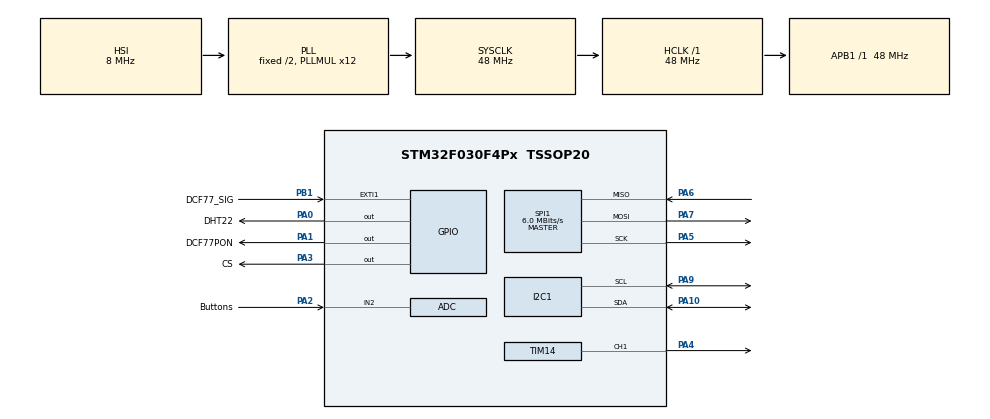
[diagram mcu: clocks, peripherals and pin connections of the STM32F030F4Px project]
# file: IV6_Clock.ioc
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I2C1.Timing=0x00201D2B
Mcu.Family=STM32F0
Mcu.Name=STM32F030F4Px
Mcu.Package=TSSOP20
NVIC.EXTI0_1_IRQn=true\:0\:0\:false\:false\:true\:true\:true\:true
NVIC.TIM3_IRQn=true\:0\:0\:false\:false\:true\:true\:true\:true
PA0.GPIO_Label=DHT22
PA0.GPIO_ModeDefaultOutputPP=GPIO_MODE_OUTPUT_OD
PA0.GPIO_PuPd=GPIO_NOPULL
PA0.GPIO_Speed=GPIO_SPEED_FREQ_HIGH
PA0.Signal=GPIO_Output
PA1.GPIO_Label=DCF77PON
PA1.Signal=GPIO_Output
PA10.Mode=I2C
PA10.Signal=I2C1_SDA
PA13.Mode=Serial_Wire
PA13.Signal=SYS_SWDIO
PA14.Mode=Serial_Wire
PA14.Signal=SYS_SWCLK
PA2.GPIO_Label=Buttons
PA2.Mode=IN2
PA2.Signal=ADC_IN2
PA3.GPIO_Label=CS
PA3.Signal=GPIO_Output
PA4.Signal=S_TIM14_CH1
PA5.GPIO_PuPd=GPIO_PULLDOWN
PA5.Mode=Full_Duplex_Master
PA5.Signal=SPI1_SCK
PA6.GPIO_PuPd=GPIO_NOPULL
PA6.Mode=Full_Duplex_Master
PA6.Signal=SPI1_MISO
PA7.Mode=Full_Duplex_Master
PA7.Signal=SPI1_MOSI
PA9.Mode=I2C
PA9.Signal=I2C1_SCL
PB1.GPIO_Label=DCF77_SIG
PB1.GPIO_ModeDefaultEXTI=GPIO_MODE_IT_FALLING
PB1.GPIO_PuPd=GPIO_NOPULL
PB1.Signal=GPXTI1
PF0-OSC_IN.Mode=HSE-External-Oscillator
PF0-OSC_IN.Signal=RCC_OSC_IN
PF1-OSC_OUT.Mode=HSE-External-Oscillator
PF1-OSC_OUT.Signal=RCC_OSC_OUT
ProjectManager.HeapSize=0x200
ProjectManager.StackSize=0x400
ProjectManager.TargetToolchain=STM32CubeIDE
RCC.AHBFreq_Value=48000000
RCC.APB1Freq_Value=48000000
RCC.APB1TimFreq_Value=48000000
RCC.HCLKFreq_Value=48000000
RCC.PLLMUL=RCC_PLL_MUL12
RCC.SYSCLKFreq_VALUE=48000000
RCC.SYSCLKSource=RCC_SYSCLKSOURCE_PLLCLK
SH.S_TIM14_CH1.0=TIM14_CH1,PWM Generation1 CH1
SPI1.BaudRatePrescaler=SPI_BAUDRATEPRESCALER_8
SPI1.CLKPhase=SPI_PHASE_1EDGE
SPI1.CLKPolarity=SPI_POLARITY_LOW
SPI1.CRCCalculation=SPI_CRCCALCULATION_DISABLE
SPI1.CalculateBaudRate=6.0 MBits/s
SPI1.DataSize=SPI_DATASIZE_8BIT
SPI1.Direction=SPI_DIRECTION_2LINES
SPI1.Mode=SPI_MODE_MASTER
SPI1.NSSPMode=SPI_NSS_PULSE_DISABLE
SPI1.VirtualType=VM_MASTER
TIM14.Channel=TIM_CHANNEL_1
TIM14.Period=999
TIM14.Prescaler=48
TIM3.Period=499
TIM3.Prescaler=4799
VP_TIM14_VS_ClockSourceINT.Mode=Enable_Timer
VP_TIM3_VS_ClockSourceINT.Mode=Internal
board=custom

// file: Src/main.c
/* USER CODE BEGIN Header */
/**
  ******************************************************************************
  * @file           : main.c
  * @brief          : Main program body
  ******************************************************************************
  * @attention
  *
  * Copyright (c) 2026 STMicroelectronics.
  * All rights reserved.
  *
  * This software is licensed under terms that can be found in the LICENSE file
  * in the root directory of this software component.
  * If no LICENSE file comes with this software, it is provided AS-IS.
  *
  ******************************************************************************
  */
/* USER CODE END Header */
#include "main.h"

/* USER CODE BEGIN Includes */
#include "MCP23S17.h"
#include "DS3231.h"
#include "DHT22.h"
#include "VFDDisplay.h"
#include "stdbool.h"
/* USER CODE END Includes */

ADC_HandleTypeDef hadc;

I2C_HandleTypeDef hi2c1;

SPI_HandleTypeDef hspi1;

TIM_HandleTypeDef htim3;
TIM_HandleTypeDef htim14;

/* USER CODE BEGIN PV */
MCP23S17SPI RMI01_Hours;
MCP23S17SPI RMI02_Minutes;
MCP23S17SPI RMI03_Seconds;

DS3231_RTC RTCM;

DHT22_Data THSens;

uint8_t Time[3] = {0};
uint8_t Date[4] = {0};
bool hrformat = 0;
bool fAmPm = 0;
//Nyomógomb kezeléshez
typedef enum{

	BTN_NONE,
	BTN_SET,
	BTN_DOWN,
	BTN_UP,
	BTN_ALARM_OFF,

}ButtonState;

typedef enum {
    STATE_SHOW_TIME,       // Normál működés
    STATE_MENU_MAIN,       // Főmenü
    STATE_MENU_SUB      	// Almenü
} SystemState;

SystemState current_state = STATE_SHOW_TIME;
uint8_t main_menu_index = 0;
uint8_t sub_menu_index = 0;

volatile uint8_t fl_btn_pressed = 0;
volatile ButtonState current_btn = BTN_NONE;
volatile ButtonState event_btn = BTN_NONE;

/* USER CODE END PV */

void SystemClock_Config(void);
static void MX_GPIO_Init(void);
static void MX_SPI1_Init(void);
static void MX_I2C1_Init(void);
static void MX_TIM14_Init(void);
static void MX_ADC_Init(void);
static void MX_TIM3_Init(void);
/* USER CODE BEGIN PFP */
void AppInit(void);
void AppRun(void);
/* USER CODE END PFP */

int main(void)
{

  /* MCU Configuration--------------------------------------------------------*/

  /* Reset of all peripherals, Initializes the Flash interface and the Systick. */
  HAL_Init();

  /* Configure the system clock */
  SystemClock_Config();

  /* Initialize all configured peripherals */
  MX_GPIO_Init();
  MX_SPI1_Init();
  MX_I2C1_Init();
  MX_TIM14_Init();
  MX_ADC_Init();
  MX_TIM3_Init();
  /* USER CODE BEGIN 2 */

  AppInit();

  /* USER CODE END 2 */

  /* Infinite loop */
  while (1)
  {

    /* USER CODE BEGIN 3 */

	  AppRun();

  }
  /* USER CODE END 3 */
}

void SystemClock_Config(void)
{
  RCC_OscInitTypeDef RCC_OscInitStruct = {0};
  RCC_ClkInitTypeDef RCC_ClkInitStruct = {0};
  RCC_PeriphCLKInitTypeDef PeriphClkInit = {0};

  /** Initializes the RCC Oscillators according to the specified parameters
  * in the RCC_OscInitTypeDef structure.
  */
  RCC_OscInitStruct.OscillatorType = RCC_OSCILLATORTYPE_HSI|RCC_OSCILLATORTYPE_HSI14;
  RCC_OscInitStruct.HSIState = RCC_HSI_ON;
  RCC_OscInitStruct.HSI14State = RCC_HSI14_ON;
  RCC_OscInitStruct.HSICalibrationValue = RCC_HSICALIBRATION_DEFAULT;
  RCC_OscInitStruct.HSI14CalibrationValue = 16;
  RCC_OscInitStruct.PLL.PLLState = RCC_PLL_ON;
  RCC_OscInitStruct.PLL.PLLSource = RCC_PLLSOURCE_HSI;
  RCC_OscInitStruct.PLL.PLLMUL = RCC_PLL_MUL12;
  RCC_OscInitStruct.PLL.PREDIV = RCC_PREDIV_DIV1;
  if (HAL_RCC_OscConfig(&RCC_OscInitStruct) != HAL_OK)
  {
    Error_Handler();
  }

  /** Initializes the CPU, AHB and APB buses clocks
  */
  RCC_ClkInitStruct.ClockType = RCC_CLOCKTYPE_HCLK|RCC_CLOCKTYPE_SYSCLK
                              |RCC_CLOCKTYPE_PCLK1;
  RCC_ClkInitStruct.SYSCLKSource = RCC_SYSCLKSOURCE_PLLCLK;
  RCC_ClkInitStruct.AHBCLKDivider = RCC_SYSCLK_DIV1;
  RCC_ClkInitStruct.APB1CLKDivider = RCC_HCLK_DIV1;

  if (HAL_RCC_ClockConfig(&RCC_ClkInitStruct, FLASH_LATENCY_1) != HAL_OK)
  {
    Error_Handler();
  }
  PeriphClkInit.PeriphClockSelection = RCC_PERIPHCLK_I2C1;
  PeriphClkInit.I2c1ClockSelection = RCC_I2C1CLKSOURCE_HSI;
  if (HAL_RCCEx_PeriphCLKConfig(&PeriphClkInit) != HAL_OK)
  {
    Error_Handler();
  }
}

static void MX_ADC_Init(void)
{

  ADC_ChannelConfTypeDef sConfig = {0};

  /** Configure the global features of the ADC (Clock, Resolution, Data Alignment and number of conversion)
  */
  hadc.Instance = ADC1;
  hadc.Init.ClockPrescaler = ADC_CLOCK_ASYNC_DIV1;
  hadc.Init.Resolution = ADC_RESOLUTION_12B;
  hadc.Init.DataAlign = ADC_DATAALIGN_RIGHT;
  hadc.Init.ScanConvMode = ADC_SCAN_DIRECTION_FORWARD;
  hadc.Init.EOCSelection = ADC_EOC_SINGLE_CONV;
  hadc.Init.LowPowerAutoWait = DISABLE;
  hadc.Init.LowPowerAutoPowerOff = DISABLE;
  hadc.Init.ContinuousConvMode = DISABLE;
  hadc.Init.DiscontinuousConvMode = DISABLE;
  hadc.Init.ExternalTrigConv = ADC_SOFTWARE_START;
  hadc.Init.ExternalTrigConvEdge = ADC_EXTERNALTRIGCONVEDGE_NONE;
  hadc.Init.DMAContinuousRequests = DISABLE;
  hadc.Init.Overrun = ADC_OVR_DATA_PRESERVED;
  if (HAL_ADC_Init(&hadc) != HAL_OK)
  {
    Error_Handler();
  }

  /** Configure for the selected ADC regular channel to be converted.
  */
  sConfig.Channel = ADC_CHANNEL_2;
  sConfig.Rank = ADC_RANK_CHANNEL_NUMBER;
  sConfig.SamplingTime = ADC_SAMPLETIME_1CYCLE_5;
  if (HAL_ADC_ConfigChannel(&hadc, &sConfig) != HAL_OK)
  {
    Error_Handler();
  }

}

static void MX_I2C1_Init(void)
{

  hi2c1.Instance = I2C1;
  hi2c1.Init.Timing = 0x00201D2B;
  hi2c1.Init.OwnAddress1 = 0;
  hi2c1.Init.AddressingMode = I2C_ADDRESSINGMODE_7BIT;
  hi2c1.Init.DualAddressMode = I2C_DUALADDRESS_DISABLE;
  hi2c1.Init.OwnAddress2 = 0;
  hi2c1.Init.OwnAddress2Masks = I2C_OA2_NOMASK;
  hi2c1.Init.GeneralCallMode = I2C_GENERALCALL_DISABLE;
  hi2c1.Init.NoStretchMode = I2C_NOSTRETCH_DISABLE;
  if (HAL_I2C_Init(&hi2c1) != HAL_OK)
  {
    Error_Handler();
  }

  /** Configure Analogue filter
  */
  if (HAL_I2CEx_ConfigAnalogFilter(&hi2c1, I2C_ANALOGFILTER_ENABLE) != HAL_OK)
  {
    Error_Handler();
  }

  /** Configure Digital filter
  */
  if (HAL_I2CEx_ConfigDigitalFilter(&hi2c1, 0) != HAL_OK)
  {
    Error_Handler();
  }

}

static void MX_SPI1_Init(void)
{

  /* SPI1 parameter configuration*/
  hspi1.Instance = SPI1;
  hspi1.Init.Mode = SPI_MODE_MASTER;
  hspi1.Init.Direction = SPI_DIRECTION_2LINES;
  hspi1.Init.DataSize = SPI_DATASIZE_8BIT;
  hspi1.Init.CLKPolarity = SPI_POLARITY_LOW;
  hspi1.Init.CLKPhase = SPI_PHASE_1EDGE;
  hspi1.Init.NSS = SPI_NSS_SOFT;
  hspi1.Init.BaudRatePrescaler = SPI_BAUDRATEPRESCALER_8;
  hspi1.Init.FirstBit = SPI_FIRSTBIT_MSB;
  hspi1.Init.TIMode = SPI_TIMODE_DISABLE;
  hspi1.Init.CRCCalculation = SPI_CRCCALCULATION_DISABLE;
  hspi1.Init.CRCPolynomial = 7;
  hspi1.Init.CRCLength = SPI_CRC_LENGTH_DATASIZE;
  hspi1.Init.NSSPMode = SPI_NSS_PULSE_DISABLE;
  if (HAL_SPI_Init(&hspi1) != HAL_OK)
  {
    Error_Handler();
  }

}

static void MX_TIM3_Init(void)
{

  TIM_ClockConfigTypeDef sClockSourceConfig = {0};
  TIM_MasterConfigTypeDef sMasterConfig = {0};

  htim3.Instance = TIM3;
  htim3.Init.Prescaler = 4799;
  htim3.Init.CounterMode = TIM_COUNTERMODE_UP;
  htim3.Init.Period = 499;
  htim3.Init.ClockDivision = TIM_CLOCKDIVISION_DIV1;
  htim3.Init.AutoReloadPreload = TIM_AUTORELOAD_PRELOAD_DISABLE;
  if (HAL_TIM_Base_Init(&htim3) != HAL_OK)
  {
    Error_Handler();
  }
  sClockSourceConfig.ClockSource = TIM_CLOCKSOURCE_INTERNAL;
  if (HAL_TIM_ConfigClockSource(&htim3, &sClockSourceConfig) != HAL_OK)
  {
    Error_Handler();
  }
  sMasterConfig.MasterOutputTrigger = TIM_TRGO_RESET;
  sMasterConfig.MasterSlaveMode = TIM_MASTERSLAVEMODE_DISABLE;
  if (HAL_TIMEx_MasterConfigSynchronization(&htim3, &sMasterConfig) != HAL_OK)
  {
    Error_Handler();
  }

}

static void MX_TIM14_Init(void)
{

  TIM_OC_InitTypeDef sConfigOC = {0};

  htim14.Instance = TIM14;
  htim14.Init.Prescaler = 48;
  htim14.Init.CounterMode = TIM_COUNTERMODE_UP;
  htim14.Init.Period = 999;
  htim14.Init.ClockDivision = TIM_CLOCKDIVISION_DIV1;
  htim14.Init.AutoReloadPreload = TIM_AUTORELOAD_PRELOAD_DISABLE;
  if (HAL_TIM_Base_Init(&htim14) != HAL_OK)
  {
    Error_Handler();
  }
  if (HAL_TIM_PWM_Init(&htim14) != HAL_OK)
  {
    Error_Handler();
  }
  sConfigOC.OCMode = TIM_OCMODE_PWM1;
  sConfigOC.Pulse = 0;
  sConfigOC.OCPolarity = TIM_OCPOLARITY_HIGH;
  sConfigOC.OCFastMode = TIM_OCFAST_DISABLE;
  if (HAL_TIM_PWM_ConfigChannel(&htim14, &sConfigOC, TIM_CHANNEL_1) != HAL_OK)
  {
    Error_Handler();
  }
  HAL_TIM_MspPostInit(&htim14);

}

static void MX_GPIO_Init(void)
{
  GPIO_InitTypeDef GPIO_InitStruct = {0};

  /* GPIO Ports Clock Enable */
  __HAL_RCC_GPIOF_CLK_ENABLE();
  __HAL_RCC_GPIOA_CLK_ENABLE();
  __HAL_RCC_GPIOB_CLK_ENABLE();

  /*Configure GPIO pin Output Level */
  HAL_GPIO_WritePin(GPIOA, DHT22_Pin|DCF77PON_Pin|CS_Pin, GPIO_PIN_RESET);

  /*Configure GPIO pin : DHT22_Pin */
  GPIO_InitStruct.Pin = DHT22_Pin;
  GPIO_InitStruct.Mode = GPIO_MODE_OUTPUT_OD;
  GPIO_InitStruct.Pull = GPIO_NOPULL;
  GPIO_InitStruct.Speed = GPIO_SPEED_FREQ_HIGH;
  HAL_GPIO_Init(DHT22_GPIO_Port, &GPIO_InitStruct);

  /*Configure GPIO pins : DCF77PON_Pin CS_Pin */
  GPIO_InitStruct.Pin = DCF77PON_Pin|CS_Pin;
  GPIO_InitStruct.Mode = GPIO_MODE_OUTPUT_PP;
  GPIO_InitStruct.Pull = GPIO_NOPULL;
  GPIO_InitStruct.Speed = GPIO_SPEED_FREQ_LOW;
  HAL_GPIO_Init(GPIOA, &GPIO_InitStruct);

  /*Configure GPIO pin : DCF77_SIG_Pin */
  GPIO_InitStruct.Pin = DCF77_SIG_Pin;
  GPIO_InitStruct.Mode = GPIO_MODE_IT_FALLING;
  GPIO_InitStruct.Pull = GPIO_NOPULL;
  HAL_GPIO_Init(DCF77_SIG_GPIO_Port, &GPIO_InitStruct);

  /* EXTI interrupt init*/
  HAL_NVIC_SetPriority(EXTI0_1_IRQn, 0, 0);
  HAL_NVIC_EnableIRQ(EXTI0_1_IRQn);

}

/* USER CODE BEGIN 4 */

void AppInit(){

	RMI01_Hours.hspi = &hspi1;
	RMI01_Hours.CS_Port = GPIOA;
	RMI01_Hours.CSPin = GPIO_PIN_3;
	RMI01_Hours.Address = 0;
	RMI01_Hours.EnableAddressing = 1;

	RMI02_Minutes.hspi = &hspi1;
	RMI02_Minutes.CS_Port = GPIOA;
	RMI02_Minutes.CSPin = GPIO_PIN_3;
	RMI02_Minutes.Address = 1;
	RMI02_Minutes.EnableAddressing = 1;

	RMI03_Seconds.hspi = &hspi1;
	RMI03_Seconds.CS_Port = GPIOA;
	RMI03_Seconds.CSPin = GPIO_PIN_3;
	RMI03_Seconds.Address = 2;
	RMI03_Seconds.EnableAddressing = 1;

	RTCM.hi2c = &hi2c1;
	RTCM.CR_EOSC = 0;
	RTCM.CR_BBSQW = 0;
	RTCM.CR_CONV = 0;
	RTCM.CR_RS1 = 0;
	RTCM.CR_RS2 = 0;
	RTCM.CR_INTCN = 0;
	RTCM.CR_A2IE = 0;
	RTCM.CR_A1IE = 0;
	RTCM.HMode = 0;

	THSens.DataPort = GPIOA;
	THSens.DataPin = GPIO_PIN_0;

	MCP23S17_Init(&RMI01_Hours);
	MCP23S17_Init(&RMI02_Minutes);
	MCP23S17_Init(&RMI03_Seconds);

	DS3231_Init(&RTCM);

	DHT22_Init();

	MCP23S17_PortMode(&RMI01_Hours, ADDR_IODIRA, 0x00);
	MCP23S17_PortMode(&RMI01_Hours, ADDR_IODIRB, 0x00);
	MCP23S17_PortMode(&RMI02_Minutes, ADDR_IODIRA, 0x00);
	MCP23S17_PortMode(&RMI02_Minutes, ADDR_IODIRB, 0x00);
	MCP23S17_PortMode(&RMI03_Seconds, ADDR_IODIRA, 0x00);
	MCP23S17_PortMode(&RMI03_Seconds, ADDR_IODIRB, 0x00);

	HAL_TIM_Base_Start_IT(&htim3);
}

ButtonState Get_Pressed_Button(void){

	uint32_t adc_value = 0;
	HAL_ADC_Start(&hadc);

	if(HAL_ADC_PollForConversion(&hadc, 10) == HAL_OK){
		adc_value = HAL_ADC_GetValue(&hadc);
	}
	HAL_ADC_Stop(&hadc);

	if(adc_value <= 500){

		return BTN_ALARM_OFF;
	}
	else if(adc_value > 1700 && adc_value < 2200){

		return BTN_UP;
	}
	else if(adc_value > 2300 && adc_value < 2600){

		return BTN_DOWN;
	}
	else if(adc_value > 2600 && adc_value < 2800){

		return BTN_SET;
	}

	else {

	return BTN_NONE;

	}
}

void HAL_TIM_PeriodElapsedCallback(TIM_HandleTypeDef *htim){

	if(htim->Instance == TIM3){

		static ButtonState last_btn = BTN_NONE;
		ButtonState current_read = Get_Pressed_Button();
		current_btn = current_read;

		if(current_read != BTN_NONE && current_read != last_btn){

			event_btn = current_read;
			fl_btn_pressed = 1;
		}
		last_btn = current_read;
	}
}

void AppRun(){

	    static uint32_t last_display_tick = 0;
	    static uint32_t last_blink_tick = 0;
	    static uint32_t last_rtc_read = 0;
	    static uint32_t last_dht_read = 0;
	    static uint8_t blink_state = 0;

	    if (current_state == STATE_SHOW_TIME) {
	        if (HAL_GetTick() - last_rtc_read >= 200) {

	            last_rtc_read = HAL_GetTick();
	            //Idő lekérdezés
	            DS3231_GetTime(&RTCM, Time, &hrformat, &fAmPm);
	            //Dátum lekérdezés
	            DS3231_GetDate(&RTCM, Date);
	        }

	        if(HAL_GetTick() - last_dht_read >= 3000){
	        	last_dht_read =  HAL_GetTick();
	        	//Hőmérséklet lekérdezés
	        	DHT22_Read(&THSens);
	        }
	    }

	    // ========================================================
	    // VILLOGÁSI ÜTEM GENERÁLÁSA (400 ms)
	    // ========================================================
	    if (HAL_GetTick() - last_blink_tick >= 400) {
	        last_blink_tick = HAL_GetTick();
	        blink_state = !blink_state;
	    }

	    // ========================================================
	    // GOMBNYOMÁSOK ÉS MENÜ (Állapotgép)
	    // ========================================================

	    if (fl_btn_pressed == 1) {
	    	fl_btn_pressed = 0;

	            switch (current_state) {

	                //Kijelzés
	                case STATE_SHOW_TIME:
	                    if (event_btn == BTN_SET) {
	                        current_state = STATE_MENU_MAIN;
	                        main_menu_index = 0;
	                    }
	                    break;

	                //Főmenü
	                case STATE_MENU_MAIN:
	                    if (event_btn == BTN_SET) {
	                        current_state = STATE_SHOW_TIME;
	                    }
	                    else if (event_btn == BTN_UP) {
	                        main_menu_index = (main_menu_index == 2) ? 0 : main_menu_index + 1;
	                    }
	                    else if (event_btn == BTN_DOWN) {
	                        main_menu_index = (main_menu_index == 0) ? 2 : main_menu_index - 1;
	                    }
	                    else if (event_btn == BTN_ALARM_OFF) {
	                        current_state = STATE_MENU_SUB;
	                        sub_menu_index = 0;
	                    }
	                    break;

	                //Almenü
	                case STATE_MENU_SUB:
	                    if (event_btn == BTN_ALARM_OFF) {

	                        if (main_menu_index == 0) {
	                            if (sub_menu_index == 0) sub_menu_index = 1;
	                            else {

	                                DS3231_SetTime(&RTCM, Time, hrformat, fAmPm);
	                                current_state = STATE_MENU_MAIN;
	                            }
	                        }
	                        else if (main_menu_index == 1) {
	                            if (sub_menu_index < 2) sub_menu_index++;
	                            else {
	                                DS3231_SetDate(&RTCM, Date);
	                                current_state = STATE_MENU_MAIN;
	                            }
	                        }
	                        else if (main_menu_index == 2) {
	                            if (sub_menu_index < 2) sub_menu_index++;
	                            else {
	                                current_state = STATE_MENU_MAIN;
	                            }
	                        }
	                    }
	                    //Up és Down nyomógombok kezelése
	                    else if (event_btn == BTN_UP || event_btn == BTN_DOWN) {
	                        int8_t dir = (event_btn == BTN_UP) ? 1 : -1;

	                        if (main_menu_index == 0) {
	                            if (sub_menu_index == 0) Time[2] = (Time[2] + dir + 24) % 24;
	                            if (sub_menu_index == 1) Time[1] = (Time[1] + dir + 60) % 60;
	                        }
	                        else if (main_menu_index == 1) {
	                            if (sub_menu_index == 0) Date[3] = (Date[3] + dir + 100) % 100;
	                            if (sub_menu_index == 1) {
	                            	Date[2] = Date[2] + dir;
	                                if (Date[2] > 12) Date[2] = 1;
	                                if (Date[2] < 1) Date[2] = 12;
	                            }
	                            if (sub_menu_index == 2) {
	                            	Date[1] = Date[1] + dir;
	                                if (Date[1] > 31) Date[1] = 1;
	                                if (Date[1] < 1) Date[1]= 31;
	                            }
	                        }
	                        else if (main_menu_index == 2) {
	                            //if (sub_menu_index == 0) alarm_h = (alarm_h + dir + 24) % 24;
	                            //if (sub_menu_index == 1) alarm_m = (alarm_m + dir + 60) % 60;
	                            //if (sub_menu_index == 2) alarm_on = !alarm_on;
	                        }
	                    }
	                    break;
	            }
	        }

	        // ========================================================
	        // KIJELZŐ UTASÍTÁSOK KIKÜLDÉSE (50 ms / 20 FPS)
	        // ========================================================
	        if (HAL_GetTick() - last_display_tick >= 50) {
	            last_display_tick = HAL_GetTick();

	            // A) NORMÁL MÓD: Automatikus rotálás
	            if (current_state == STATE_SHOW_TIME) {
	                if (Time[0] >= 46 && Time[0] <= 49)      VFD_Show(Date[3], Date[2], Date[1], 0, 0, 0);
	                else if (Time[0] >= 50 && Time[0] <= 53) VFD_ShowTemp(THSens.Temperature);
	                else if (Time[0] >= 54 && Time[0] <= 57) VFD_ShowHum(THSens.Humidity);
	                else                                   VFD_Show(Time[2], Time[1], Time[0], 0, 0, 0);
	            }

	            // B) FŐMENÜ neveinek kiírása
	            else if (current_state == STATE_MENU_MAIN) {
	                VFD_ShowMainMenu(main_menu_index);
	            }

	            // C) ALMENÜ (a beállítani kívánt érték villog)
	            else if (current_state == STATE_MENU_SUB) {

	                // Óra szerkesztése
	                if (main_menu_index == 0) {
	                    VFD_Show(Time[2], Time[1], 0,
	                            (sub_menu_index == 0) ? !blink_state : 0,
	                            (sub_menu_index == 1) ? !blink_state : 0,
	                            0);
	                }
	                // Dátum szerkesztése
	                else if (main_menu_index == 1) {
	                    VFD_Show(Date[3], Date[2], Date[1],
	                            (sub_menu_index == 0) ? !blink_state : 0,
	                            (sub_menu_index == 1) ? !blink_state : 0,
	                            (sub_menu_index == 2) ? !blink_state : 0);
	                }
	                // Alarm szerkesztése
	                else if (main_menu_index == 2) {
	                    if (sub_menu_index == 0) {
	                        //VFD_Show(alarm_h, alarm_m, 0, !blink_state, 0, 0); // Óra villog
	                    }
	                    else if (sub_menu_index == 1) {
	                        //VFD_Show(alarm_h, alarm_m, 0, 0, !blink_state, 0); // Perc villog
	                    }
	                    else if (sub_menu_index == 2) {
	                        //VFD_ShowAlarmStatus(alarm_on, blink_state);        // On/OF villog
	                    }
	                }
	            }
	        }
	}

/* USER CODE END 4 */

void Error_Handler(void)
{
  __disable_irq();
  while (1)
  {
  }
}
